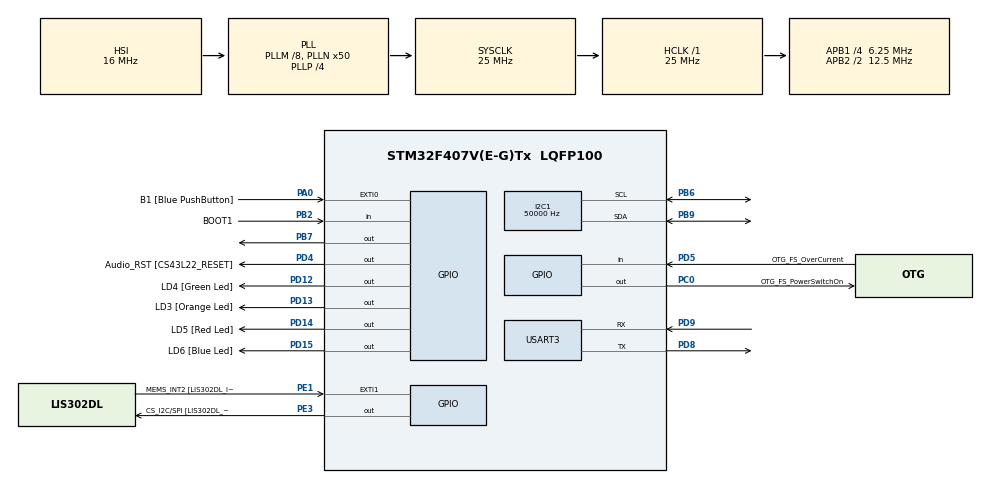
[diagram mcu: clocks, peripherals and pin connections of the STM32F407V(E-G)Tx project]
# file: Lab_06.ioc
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I2C1.ClockSpeed=50000
Mcu.Family=STM32F4
Mcu.Name=STM32F407V(E-G)Tx
Mcu.Package=LQFP100
NVIC.PriorityGroup=NVIC_PRIORITYGROUP_0
NVIC.USART3_IRQn=true\:0\:0\:false\:false\:true\:true\:true
PA0-WKUP.GPIO_Label=B1 [Blue PushButton]
PA0-WKUP.Signal=GPXTI0
PA10.GPIO_Label=OTG_FS_ID
PA10.GPIO_Mode=GPIO_MODE_AF_PP
PA10.GPIO_PuPd=GPIO_NOPULL
PA10.GPIO_Speed=GPIO_SPEED_FREQ_LOW
PA10.Signal=USB_OTG_FS_ID
PA11.GPIO_Label=OTG_FS_DM
PA11.GPIO_Mode=GPIO_MODE_AF_PP
PA11.GPIO_PuPd=GPIO_NOPULL
PA11.GPIO_Speed=GPIO_SPEED_FREQ_LOW
PA11.Signal=USB_OTG_FS_DM
PA12.GPIO_Label=OTG_FS_DP
PA12.GPIO_Mode=GPIO_MODE_AF_PP
PA12.GPIO_PuPd=GPIO_NOPULL
PA12.GPIO_Speed=GPIO_SPEED_FREQ_LOW
PA12.Signal=USB_OTG_FS_DP
PA13.GPIO_Label=SWDIO
PA13.Signal=SYS_JTMS-SWDIO
PA14.GPIO_Label=SWCLK
PA14.Signal=SYS_JTCK-SWCLK
PA4.GPIO_Label=I2S3_WS [CS43L22_LRCK]
PA4.GPIO_Mode=GPIO_MODE_AF_PP
PA4.GPIO_PuPd=GPIO_NOPULL
PA4.GPIO_Speed=GPIO_SPEED_FREQ_LOW
PA4.Signal=I2S3_WS
PA5.GPIO_Label=SPI1_SCK [LIS302DL_SCL/SPC]
PA5.GPIO_Mode=GPIO_MODE_AF_PP
PA5.GPIO_PuPd=GPIO_NOPULL
PA5.GPIO_Speed=GPIO_SPEED_FREQ_LOW
PA5.Signal=SPI1_SCK
PA6.GPIO_Label=SPI1_MISO [LIS302DL_SDO]
PA6.GPIO_Mode=GPIO_MODE_AF_PP
PA6.GPIO_PuPd=GPIO_NOPULL
PA6.GPIO_Speed=GPIO_SPEED_FREQ_LOW
PA6.Signal=SPI1_MISO
PA7.GPIO_Label=SPI1_MOSI [LIS302DL_SDA/SDI/SDO]
PA7.GPIO_Mode=GPIO_MODE_AF_PP
PA7.GPIO_PuPd=GPIO_NOPULL
PA7.GPIO_Speed=GPIO_SPEED_FREQ_LOW
PA7.Signal=SPI1_MOSI
PA9.GPIO_Label=VBUS_FS
PA9.GPIO_Mode=GPIO_MODE_INPUT
PA9.GPIO_PuPd=GPIO_NOPULL
PA9.Signal=USB_OTG_FS_VBUS
PB10.GPIO_Label=CLK_IN [MP45DT02_CLK]
PB10.GPIO_Mode=GPIO_MODE_AF_PP
PB10.GPIO_PuPd=GPIO_NOPULL
PB10.GPIO_Speed=GPIO_SPEED_FREQ_LOW
PB10.Signal=I2S2_CK
PB2.GPIO_Label=BOOT1
PB2.GPIO_Mode=GPIO_MODE_INPUT
PB2.GPIO_PuPd=GPIO_NOPULL
PB2.Signal=GPIO_Input
PB3.GPIO_Label=SWO
PB3.Signal=SYS_JTDO-SWO
PB6.Mode=I2C
PB6.Signal=I2C1_SCL
PB7.Signal=GPIO_Output
PB9.Mode=I2C
PB9.Signal=I2C1_SDA
PC0.GPIO_Label=OTG_FS_PowerSwitchOn
PC0.GPIO_PuPd=GPIO_NOPULL
PC0.GPIO_Speed=GPIO_SPEED_FREQ_LOW
PC0.PinState=GPIO_PIN_SET
PC0.Signal=GPIO_Output
PC10.GPIO_Label=I2S3_SCK [CS43L22_SCLK]
PC10.GPIO_Mode=GPIO_MODE_AF_PP
PC10.GPIO_PuPd=GPIO_NOPULL
PC10.GPIO_Speed=GPIO_SPEED_FREQ_LOW
PC10.Signal=I2S3_CK
PC12.GPIO_Label=I2S3_SD [CS43L22_SDIN]
PC12.GPIO_Mode=GPIO_MODE_AF_PP
PC12.GPIO_PuPd=GPIO_NOPULL
PC12.GPIO_Speed=GPIO_SPEED_FREQ_LOW
PC12.Signal=I2S3_SD
PC14-OSC32_IN.GPIO_Label=PC14-OSC32_IN
PC14-OSC32_IN.Signal=RCC_OSC32_IN
PC15-OSC32_OUT.GPIO_Label=PC15-OSC32_OUT
PC15-OSC32_OUT.Signal=RCC_OSC32_OUT
PC3.GPIO_Label=PDM_OUT [MP45DT02_DOUT]
PC3.GPIO_Mode=GPIO_MODE_AF_PP
PC3.GPIO_PuPd=GPIO_NOPULL
PC3.GPIO_Speed=GPIO_SPEED_FREQ_LOW
PC3.Signal=I2S2_SD
PC7.GPIO_Label=I2S3_MCK [CS43L22_MCLK]
PC7.GPIO_Mode=GPIO_MODE_AF_PP
PC7.GPIO_PuPd=GPIO_NOPULL
PC7.GPIO_Speed=GPIO_SPEED_FREQ_LOW
PC7.Signal=I2S3_MCK
PD12.GPIO_Label=LD4 [Green Led]
PD12.GPIO_PuPd=GPIO_NOPULL
PD12.GPIO_Speed=GPIO_SPEED_FREQ_LOW
PD12.Signal=GPIO_Output
PD13.GPIO_Label=LD3 [Orange Led]
PD13.GPIO_PuPd=GPIO_NOPULL
PD13.GPIO_Speed=GPIO_SPEED_FREQ_LOW
PD13.Signal=GPIO_Output
PD14.GPIO_Label=LD5 [Red Led]
PD14.GPIO_PuPd=GPIO_NOPULL
PD14.GPIO_Speed=GPIO_SPEED_FREQ_LOW
PD14.Signal=GPIO_Output
PD15.GPIO_Label=LD6 [Blue Led]
PD15.GPIO_PuPd=GPIO_NOPULL
PD15.GPIO_Speed=GPIO_SPEED_FREQ_LOW
PD15.Signal=GPIO_Output
PD4.GPIO_Label=Audio_RST [CS43L22_RESET]
PD4.GPIO_PuPd=GPIO_NOPULL
PD4.GPIO_Speed=GPIO_SPEED_FREQ_LOW
PD4.Signal=GPIO_Output
PD5.GPIO_Label=OTG_FS_OverCurrent
PD5.GPIO_Mode=GPIO_MODE_INPUT
PD5.GPIO_PuPd=GPIO_NOPULL
PD5.Signal=GPIO_Input
PD8.Mode=Asynchronous
PD8.Signal=USART3_TX
PD9.Mode=Asynchronous
PD9.Signal=USART3_RX
PE1.GPIO_Label=MEMS_INT2 [LIS302DL_INT2]
PE1.GPIO_ModeDefaultEXTI=GPIO_MODE_EVT_RISING
PE1.GPIO_PuPd=GPIO_NOPULL
PE1.Signal=GPXTI1
PE3.GPIO_Label=CS_I2C/SPI [LIS302DL_CS_I2C/SPI]
PE3.GPIO_PuPd=GPIO_NOPULL
PE3.GPIO_Speed=GPIO_SPEED_FREQ_LOW
PE3.Signal=GPIO_Output
PH0-OSC_IN.GPIO_Label=PH0-OSC_IN
PH0-OSC_IN.Signal=RCC_OSC_IN
PH1-OSC_OUT.GPIO_Label=PH1-OSC_OUT
PH1-OSC_OUT.Signal=RCC_OSC_OUT
ProjectManager.HeapSize=0x200
ProjectManager.StackSize=0x400
ProjectManager.TargetToolchain=STM32CubeIDE
RCC.48MHZClocksFreq_Value=14285714.285714285
RCC.AHBFreq_Value=25000000
RCC.APB1CLKDivider=RCC_HCLK_DIV4
RCC.APB1Freq_Value=6250000
RCC.APB1TimFreq_Value=12500000
RCC.APB2CLKDivider=RCC_HCLK_DIV2
RCC.APB2Freq_Value=12500000
RCC.APB2TimFreq_Value=25000000
RCC.CortexFreq_Value=25000000
RCC.HCLKFreq_Value=25000000
RCC.HSE_VALUE=8000000
RCC.HSI_VALUE=16000000
RCC.LSE_VALUE=32768
RCC.PLLM=8
RCC.PLLN=50
RCC.PLLP=RCC_PLLP_DIV4
RCC.PLLQ=7
RCC.SYSCLKFreq_VALUE=25000000
RCC.SYSCLKSource=RCC_SYSCLKSOURCE_PLLCLK
RCC.VCOOutputFreq_Value=100000000
USART3.VirtualMode=VM_ASYNC
board=STM32F407G-DISC1

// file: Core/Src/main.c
/* USER CODE BEGIN Header */
/**
  ******************************************************************************
  * @file           : main.c
  * @brief          : Main program body
  ******************************************************************************
  * @attention
  *
  * <h2><center>&copy; Copyright (c) 2021 STMicroelectronics.
  * All rights reserved.</center></h2>
  *
  * This software component is licensed by ST under BSD 3-Clause license,
  * the "License"; You may not use this file except in compliance with the
  * License. You may obtain a copy of the License at:
  *                        opensource.org/licenses/BSD-3-Clause
  *
  ******************************************************************************
  */
/* USER CODE END Header */
#include "main.h"
#include "i2c.h"
#include "usart.h"
#include "gpio.h"

/* USER CODE BEGIN Includes */
#include "PCA9685.h"
#include <string.h>
#include <stdio.h>
/* USER CODE END Includes */

void SystemClock_Config(void);
/* USER CODE BEGIN PFP */
void Show_Dimming_Effect(void);
void Show_Blink_Effect(void);
void GPIO_Callback(bool state);
void I2C_Transmit(uint8_t devId, uint8_t data[], uint32_t len);
void Handle_Command(void);
/* USER CODE END PFP */

/* USER CODE BEGIN 0 */
uint8_t rx;
uint8_t command[64];
uint8_t command_ready = 0;
bool in_sleep = false;
/* USER CODE END 0 */

int main(void)
{

  /* MCU Configuration--------------------------------------------------------*/

  /* Reset of all peripherals, Initializes the Flash interface and the Systick. */
  HAL_Init();

  /* Configure the system clock */
  SystemClock_Config();

  /* Initialize all configured peripherals */
  MX_GPIO_Init();
  MX_I2C1_Init();
  MX_USART3_UART_Init();
  /* USER CODE BEGIN 2 */
  HAL_Delay(10);
  LED_Driver_Init(GPIO_Callback, I2C_Transmit);
  HAL_UART_Receive_IT(&huart3, &rx, 1);
  /* USER CODE END 2 */

  /* Infinite loop */
  /* USER CODE BEGIN WHILE */

  while (1)
  {
	  if (command_ready)
	  {
		  command_ready = 0;
		  Handle_Command();
	  }
    /* USER CODE END WHILE */

  }
}

void SystemClock_Config(void)
{
  RCC_OscInitTypeDef RCC_OscInitStruct = {0};
  RCC_ClkInitTypeDef RCC_ClkInitStruct = {0};

  /** Configure the main internal regulator output voltage
  */
  __HAL_RCC_PWR_CLK_ENABLE();
  __HAL_PWR_VOLTAGESCALING_CONFIG(PWR_REGULATOR_VOLTAGE_SCALE1);
  /** Initializes the RCC Oscillators according to the specified parameters
  * in the RCC_OscInitTypeDef structure.
  */
  RCC_OscInitStruct.OscillatorType = RCC_OSCILLATORTYPE_HSI;
  RCC_OscInitStruct.HSIState = RCC_HSI_ON;
  RCC_OscInitStruct.HSICalibrationValue = RCC_HSICALIBRATION_DEFAULT;
  RCC_OscInitStruct.PLL.PLLState = RCC_PLL_ON;
  RCC_OscInitStruct.PLL.PLLSource = RCC_PLLSOURCE_HSI;
  RCC_OscInitStruct.PLL.PLLM = 8;
  RCC_OscInitStruct.PLL.PLLN = 50;
  RCC_OscInitStruct.PLL.PLLP = RCC_PLLP_DIV4;
  RCC_OscInitStruct.PLL.PLLQ = 7;
  if (HAL_RCC_OscConfig(&RCC_OscInitStruct) != HAL_OK)
  {
    Error_Handler();
  }
  /** Initializes the CPU, AHB and APB buses clocks
  */
  RCC_ClkInitStruct.ClockType = RCC_CLOCKTYPE_HCLK|RCC_CLOCKTYPE_SYSCLK
                              |RCC_CLOCKTYPE_PCLK1|RCC_CLOCKTYPE_PCLK2;
  RCC_ClkInitStruct.SYSCLKSource = RCC_SYSCLKSOURCE_PLLCLK;
  RCC_ClkInitStruct.AHBCLKDivider = RCC_SYSCLK_DIV1;
  RCC_ClkInitStruct.APB1CLKDivider = RCC_HCLK_DIV4;
  RCC_ClkInitStruct.APB2CLKDivider = RCC_HCLK_DIV2;

  if (HAL_RCC_ClockConfig(&RCC_ClkInitStruct, FLASH_LATENCY_0) != HAL_OK)
  {
    Error_Handler();
  }
}

/* USER CODE BEGIN 4 */
void Show_Dimming_Effect(void)
{
	for (int i = 0; i <= 100; i++)
	{
		LED_Driver_Set_PWM_All(i, 0);
		HAL_Delay(50);
	}
	for (int i = 100; i >= 0; i--)
	{
		LED_Driver_Set_PWM_All(i, 0);
		HAL_Delay(50);
	}
}

void Show_Blink_Effect(void)
{
	for (int i = 0; i < 16; i++)
	{
		LED_Driver_Turn_On(i);
		HAL_Delay(50);
	}

	for (int i = 0; i < 4; i++)
	{
		LED_Driver_Turn_On_All();
		HAL_Delay(200);
		LED_Driver_Turn_Off_All();
		HAL_Delay(200);
	}
}

void GPIO_Callback(bool state)
{
	 HAL_GPIO_WritePin(GPIOB, GPIO_PIN_7, state ? GPIO_PIN_SET : GPIO_PIN_RESET);
}

void I2C_Transmit(uint8_t devId, uint8_t data[], uint32_t len)
{
	HAL_I2C_Master_Transmit(&hi2c1, devId, data, len, 1000);
}

void Handle_Command(void)
{
	int num;
	char cmd1[sizeof("disable")];
	char cmd2[sizeof("duty")];

	if (sscanf(command, "%s %s %d", cmd1, cmd2, &num) == 3)
	{
		if (strcmp(cmd1, "set") == 0)
		{
			if (strcmp(cmd2, "duty") == 0)
			{
				if (num < 0 || num > 100)
				{
					HAL_UART_Transmit(&huart3, "ERROR: wrong duty value\r\n", sizeof("ERROR: wrong duty value\r\n"), 100);
					return;
				}
				else
				{
					LED_Driver_Set_PWM_All(num, 0);
					HAL_UART_Transmit(&huart3, "OK\r\n", sizeof("OK\r\n"), 100);
					return;
				}
			}
			else if(strcmp(cmd2, "freq") == 0)
			{
				if (!in_sleep)
				{
					HAL_UART_Transmit(&huart3, "ERROR: enter sleep mode to change frequency\r\n", sizeof("ERROR: enter sleep mode to change frequency\r\n"), 100);
					return;
				}
				else {
					if(num < 24 || num > 1526)
					{
						HAL_UART_Transmit(&huart3, "ERROR: wrong frequency value\r\n", sizeof("ERROR: wrong frequency value\r\n"), 100);
						return;
					}
					else
					{
						LED_Driver_Set_Frequency(num);
						HAL_UART_Transmit(&huart3, "OK\r\n", sizeof("OK\r\n"), 100);
						return;
					}
				}
			}
		}
		else
		{
			HAL_UART_Transmit(&huart3, "ERROR: unknown command\r\n", sizeof("ERROR: unknown command\r\n"), 100);
			return;
		}
	}
	else if(sscanf(command, "%s %d", cmd1, &num) == 2)
	{
		if(strcmp(cmd1, "sleep") == 0)
		{
			if(num == 0 || num == 1)
			{
				LED_Driver_Set_Sleep_Mode(num);
				in_sleep = num;
				HAL_UART_Transmit(&huart3, "OK\r\n", sizeof("OK\r\n"), 100);
				return;
			}
			else
			{
				HAL_UART_Transmit(&huart3, "ERROR: wrong sleep parameter\r\n", sizeof("ERROR: wrong sleep parameter\r\n"), 100);
				return;
			}
		}
		else
		{
			HAL_UART_Transmit(&huart3, "ERROR: unknown command\r\n", sizeof("ERROR: unknown command\r\n"), 100);
			return;
		}
	}
	else if (strcmp(command, "enable") == 0)
	{
		if(!in_sleep)
		{
			LED_Driver_Turn_On_All();
			HAL_UART_Transmit(&huart3, "OK\r\n", sizeof("OK\r\n"), 100);
			return;
		}
		else
		{
			HAL_UART_Transmit(&huart3, "ERROR: unavailable action in sleep mode\r\n", sizeof("ERROR: unavailable action in sleep mode\r\n"), 100);
			return;
		}

	}
	else if (strcmp(command, "disable") == 0)
	{
		LED_Driver_Turn_Off_All();
		HAL_UART_Transmit(&huart3, "OK\r\n", sizeof("OK\r\n"), 100);
		return;
	}
	else
	{
		HAL_UART_Transmit(&huart3, "ERROR: unknown command\r\n", sizeof("ERROR: unknown command\r\n"), 100);
		return;
	}
}

void HAL_UART_RxCpltCallback(UART_HandleTypeDef *huart)
{
	static uint8_t cmd[64];
	static uint8_t index;
	cmd[index] = rx;

	if (rx == '\n')
	{
		cmd[index] = 0;
		index = 0;
		strncpy((char *)command, (char *)cmd, sizeof(command));
		command_ready = 1;
	}
	else if (rx == '\r')
	{

	}
	else {
		cmd[index++] = rx;
	}
	HAL_UART_Receive_IT(&huart3, &rx, 1);
}

/* USER CODE END 4 */

void Error_Handler(void)
{
  __disable_irq();
  while (1)
  {
  }
}

/************************ (C) COPYRIGHT STMicroelectronics *****END OF FILE****/
